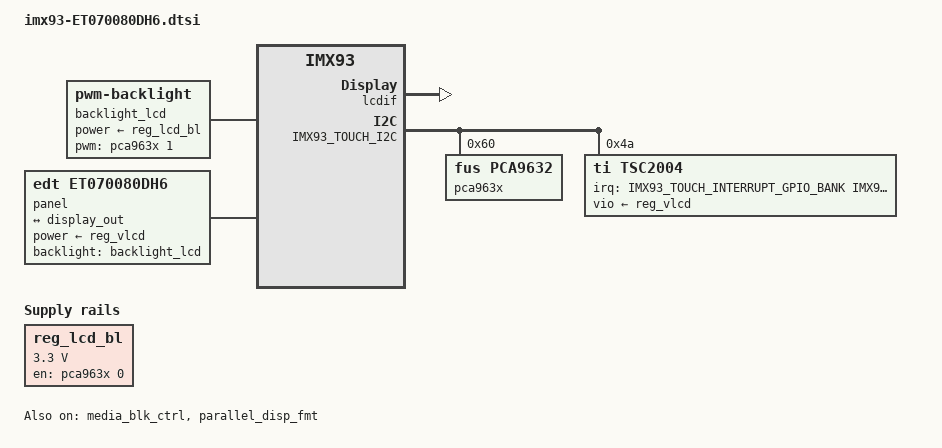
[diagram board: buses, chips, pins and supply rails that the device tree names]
// SPDX-License-Identifier: (GPL-2.0+ OR MIT)
/*
 * Copyright 2024 NXP
 */

#include <dt-bindings/gpio/gpio.h>
#include <dt-bindings/pwm/pwm.h>

/ {

	regulators {
		reg_lcd_bl: backlight_lcd {
			compatible = "regulator-fixed";
			regulator-name = "lcd-bl";
			gpio = <&pca963x 0 0>;
			regulator-min-microvolt = <3300000>;
			regulator-max-microvolt = <3300000>;
			enable-active-high;
		};
	};

	backlight_lcd: backlight_lcd {
		compatible = "pwm-backlight";
		pwms = <&pca963x 1 640000 0>;
		power-supply = <&reg_lcd_bl>;
		brightness-levels = <0 1 5 10 18 28 41 56
				     73 92 113 137 163 192 222 255>;
		default-brightness-level = <14>;
		fb-names = "lcd";
	};

	/* Simple panel driver */
	panel: panel {
		compatible = "edt,et070080dh6";
		backlight = <&backlight_lcd>;
		power-supply = <&reg_vlcd>;

		port@0 {
			panel_in: endpoint {
				remote-endpoint = <&display_out>;
			};
		};
	};
};


&lcdif {
	assigned-clock-rates = <300000000>, <33000000>, <400000000>, <133333333>;
	status = "okay";
};

&media_blk_ctrl {
	status = "okay";
};

&parallel_disp_fmt {
	pinctrl-names = "default", "gpio";
	pinctrl-0 = <&pinctrl_lcdif>;
	pinctrl-1 = <&pinctrl_lcdif_gpio>;
	fsl,interface-pix-fmt = "rgb666";
	status = "okay";

	ports {
		port@1 {
			reg = <1>;
			display_out: endpoint {
				remote-endpoint = <&panel_in>;
			};
		};
	};
};

&IMX93_TOUCH_I2C {

	pca963x: pca9632@60 {
		compatible = "fus,pca9632";
		reg = <0x60>;
		nxp,totem-pole;
		#address-cells = <1>;
		#size-cells = <0>;
		#pwm-cells = <3>;
		#gpio-cells = <2>;
		led@0 {
			reg = <0>;
			label = "0-PWRCTL";
			type = "GPIO";
			default-on;		/* or: keep-value */
			active-high;
		};
		led@1 {
			reg = <1>;
			label = "1-LEDCTRL";
			type = "PWM";
			default-on;		/* or: keep-value */
			active-low;
		};
		led@2 {
			reg = <2>;
			label = "2-ROTATE";
			type = "GPIO";
			active-high;		/* optionally: keep value */
		};
		led@3 {
			reg = <3>;
			label = "3-unused";
			type = "LED";
			active-low;
		};
	};

	tsc2004@4a {
		compatible = "ti,tsc2004";
		reg = <0x4a>;
		vio-supply = <&reg_vlcd>;
		interrupts-extended = <&IMX93_TOUCH_INTERRUPT_GPIO_BANK IMX93_TOUCH_INTERRUPT_GPIO_NUM IRQ_TYPE_EDGE_FALLING>;

		touchscreen-fuzz-x = <4>;
		touchscreen-fuzz-y = <7>;
		touchscreen-fuzz-pressure = <20>;
		touchscreen-size-x = <4096>;
		touchscreen-size-y = <4096>;
		touchscreen-max-pressure = <2048>;
		touchscreen-inverted-y;
		ti,x-plate-ohms = <900>;
		ti,sense-time-sel = <4>;
		ti,pre-charge-time = <4>;
		//ti,esd-recovery-timeout-ms = <8000>;
	};
};

&iomuxc {
	pinctrl_lcdif: lcdifgrp {
		fsl,pins = <
			MX93_PAD_GPIO_IO00__MEDIAMIX_DISP_CLK		0x31e
			MX93_PAD_GPIO_IO01__MEDIAMIX_DISP_DE		0x31e
			MX93_PAD_GPIO_IO02__MEDIAMIX_DISP_VSYNC		0x31e
			MX93_PAD_GPIO_IO03__MEDIAMIX_DISP_HSYNC		0x31e
			MX93_PAD_GPIO_IO04__MEDIAMIX_DISP_DATA00		0x31e
			MX93_PAD_GPIO_IO05__MEDIAMIX_DISP_DATA01		0x31e
			MX93_PAD_GPIO_IO06__MEDIAMIX_DISP_DATA02		0x31e
			MX93_PAD_GPIO_IO07__MEDIAMIX_DISP_DATA03		0x31e
			MX93_PAD_GPIO_IO08__MEDIAMIX_DISP_DATA04		0x31e
			MX93_PAD_GPIO_IO09__MEDIAMIX_DISP_DATA05		0x31e
			MX93_PAD_GPIO_IO10__MEDIAMIX_DISP_DATA06		0x31e
			MX93_PAD_GPIO_IO11__MEDIAMIX_DISP_DATA07		0x31e
			MX93_PAD_GPIO_IO12__MEDIAMIX_DISP_DATA08		0x31e
			MX93_PAD_GPIO_IO13__MEDIAMIX_DISP_DATA09		0x31e
			MX93_PAD_GPIO_IO14__MEDIAMIX_DISP_DATA10	0x31e
			MX93_PAD_GPIO_IO15__MEDIAMIX_DISP_DATA11	0x31e
			MX93_PAD_GPIO_IO16__MEDIAMIX_DISP_DATA12	0x31e
			MX93_PAD_GPIO_IO17__MEDIAMIX_DISP_DATA13	0x31e
			MX93_PAD_GPIO_IO18__MEDIAMIX_DISP_DATA14	0x31e
			MX93_PAD_GPIO_IO19__MEDIAMIX_DISP_DATA15	0x31e
			MX93_PAD_GPIO_IO20__MEDIAMIX_DISP_DATA16	0x31e
			MX93_PAD_GPIO_IO21__MEDIAMIX_DISP_DATA17	0x31e
		>;
	};

	pinctrl_lcdif_gpio: lcdifgpiogrp {
		fsl,pins = <
			MX93_PAD_GPIO_IO00__GPIO2_IO00			0x51e
			MX93_PAD_GPIO_IO01__GPIO2_IO01			0x51e
			MX93_PAD_GPIO_IO02__GPIO2_IO02			0x51e
			MX93_PAD_GPIO_IO03__GPIO2_IO03			0x51e
			MX93_PAD_GPIO_IO04__GPIO2_IO04			0x51e
			MX93_PAD_GPIO_IO05__GPIO2_IO05			0x51e
			MX93_PAD_GPIO_IO06__GPIO2_IO06			0x51e
			MX93_PAD_GPIO_IO07__GPIO2_IO07			0x51e
			MX93_PAD_GPIO_IO08__GPIO2_IO08			0x51e
			MX93_PAD_GPIO_IO09__GPIO2_IO09			0x51e
			MX93_PAD_GPIO_IO10__GPIO2_IO10			0x51e
			MX93_PAD_GPIO_IO11__GPIO2_IO11			0x51e
			MX93_PAD_GPIO_IO12__GPIO2_IO12			0x51e
			MX93_PAD_GPIO_IO13__GPIO2_IO13			0x51e
			MX93_PAD_GPIO_IO14__GPIO2_IO14			0x51e
			MX93_PAD_GPIO_IO15__GPIO2_IO15			0x51e
			MX93_PAD_GPIO_IO16__GPIO2_IO16			0x51e
			MX93_PAD_GPIO_IO17__GPIO2_IO17			0x51e
			MX93_PAD_GPIO_IO18__GPIO2_IO18			0x51e
			MX93_PAD_GPIO_IO19__GPIO2_IO19			0x51e
			MX93_PAD_GPIO_IO20__GPIO2_IO20			0x51e
			MX93_PAD_GPIO_IO21__GPIO2_IO21			0x51e
		>;
	};
};
